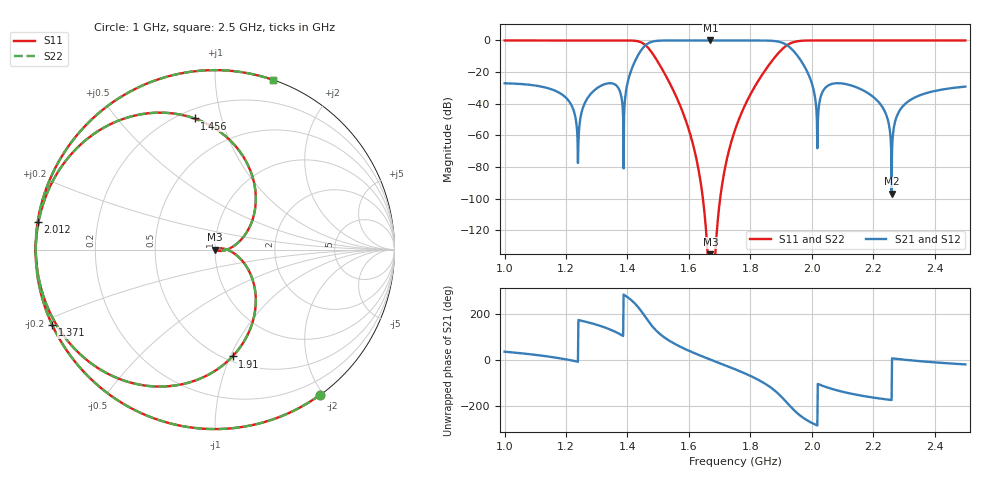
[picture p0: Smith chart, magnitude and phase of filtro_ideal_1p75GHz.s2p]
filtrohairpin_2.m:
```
%% 1. Filtro elegido: Inverse Chebyshev
clc ; clear all ; close all ;
freqs = linspace(1e9, 2.5e9, 1000); 

filt = rffilter('FilterType', 'InverseChebyshev', ...
                'ResponseType', 'Bandpass', ...
                'Implementation', 'Transfer function', ...
                'FilterOrder', 5, ...
                'PassbandAttenuation', 0.1, ...
                'PassbandFrequency', [1.55e9, 1.85e9], ... 
                'StopbandFrequency', [1.4e9, 2e9], ...     
                'StopbandAttenuation', 27,...
                'Zin', 50, 'Zout', 50);

data = sparameters(filt, freqs);
IChs21 = 20*log10(abs(rfparam(data, 2, 1)));
IChs11 = 20*log10(abs(rfparam(data, 1, 1)));
data_export = sparameters(filt, freqs);

% Escribimos el archivo Touchstone
rfwrite(data_export, 'filtro_ideal_1p75GHz.s2p');

% 3. Gráfico comparativo 
figure;plot(freqs/1e9, IChs21, 'b.', 'LineWidth', 2);
hold on;
       plot(freqs/1e9, IChs11, 'g.', 'LineWidth', 2);
hold off;
% 4. Estética del gráfico
grid on;
xlabel('Frecuencia (GHz)');
ylabel('Magnitud de S_{21} y S_{11}(dB)');
title('Respuestas de Filtro Pasabanda Inverso de Chebyshev (N=6)');
legend('Inverse Chebyshev', 'Location', 'best');
ylim([-60, 5]); % Limita el eje Y para apreciar bien la banda de paso y el stopband
```
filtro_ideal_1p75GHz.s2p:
# GHz S RI R 50
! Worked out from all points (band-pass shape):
!   1000 points, 1 GHz to 2.5 GHz, reference 50 ohm
!   highest |S21| = 0.00 dB at 1.67 GHz (marker M1); lowest = -96.8 dB at 2.26 GHz (marker M2)
!   |S21| within 3 dB of the highest: 1.459 GHz to 1.919 GHz (460.3 MHz wide, 27.3 % of centre)
!   lowest |S11| = -188.5 dB at 1.67 GHz (marker M3), VSWR 1.00, Z = 50 - j3.75e-08 ohm
!   |S11| at or under -10 dB: 1.488 GHz to 1.882 GHz (394.8 MHz wide, 23.4 % of centre)
!   |S22| runs from - to 0.0 dB; largest |S21 - S12| = 0
!   S11 on the Smith chart (normalised r, x): 1 GHz: 0.00, -1.96; 1.371 GHz: 0.00, -0.22; 1.456 GHz: 0.26, +0.82; 1.91 GHz: 0.54, -1.02; 2.012 GHz: 0.00, +0.08; 2.5 GHz: 0.00, +1.40
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1  0.5855 -0.8095  0.0359 0.026  0.0359 0.026  0.5855 -0.8095
1.238739  -0.1272 -0.9919  0.000133 -1.71e-05  0.000133 -1.71e-05  -0.1272 -0.9919
1.370871  -0.9077 -0.4185  -0.0129 0.0279  -0.0129 0.0279  -0.9077 -0.4185
1.456456  -0.1136 0.7307  -0.6652 -0.1034  -0.6652 -0.1034  -0.1136 0.7307
1.66967  1.23e-11 -3.75e-10  0.9995 0.0329  0.9995 0.0329  1.23e-11 -3.75e-10
1.750751  0.001 0.00119  0.7632 -0.6461  0.7632 -0.6461  0.001 0.00119
1.90991  0.0976 -0.5953  -0.7871 -0.129  -0.7871 -0.129  0.0976 -0.5953
2.012012  -0.9883 0.1521  0.00192 0.0125  0.00192 0.0125  -0.9883 0.1521
2.151652  -0.4793 0.8771  -0.0274 -0.015  -0.0274 -0.015  -0.4793 0.8771
2.25976  -0.1289 0.9917  -1.44e-05 -1.87e-06  -1.44e-05 -1.87e-06  -0.1289 0.9917
2.5  0.3248 0.9451  0.0329 -0.0113  0.0329 -0.0113  0.3248 0.9451
